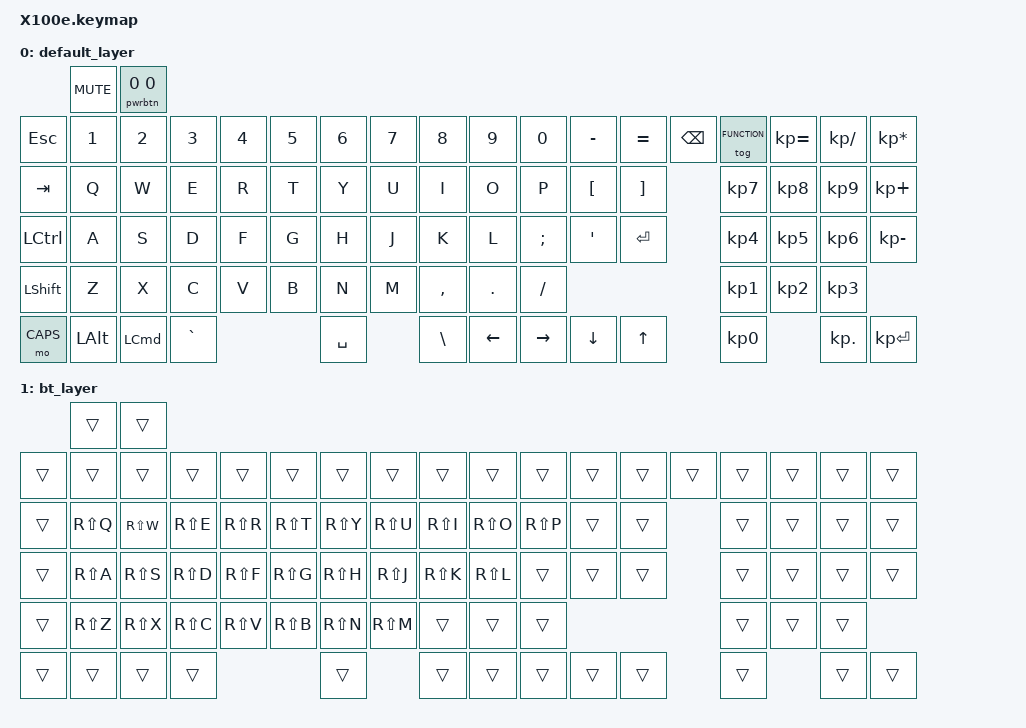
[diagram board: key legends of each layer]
#include <dt-bindings/zmk/keys.h>
#include <behaviors.dtsi>
#include <dt-bindings/zmk/bt.h>

/ {

    keymap {
        compatible = "zmk,keymap";
        
        default_layer {
            bindings = <
                &kp C_MUTE  &pwrbtn 0 0
    &kp ESC     &kp N1      &kp N2      &kp N3      &kp N4      &kp N5      &kp N6      &kp N7      &kp N8      &kp N9      &kp N0      &kp MINUS   &kp EQUAL       &kp BSPC        &tog FUNCTION   &kp KP_EQUAL    &kp KP_SLASH    &kp KP_ASTERISK
    &kp TAB     &kp Q       &kp W       &kp E       &kp R       &kp T       &kp Y       &kp U       &kp I       &kp O       &kp P       &kp LBKT    &kp RBKT                        &kp KP_N7       &kp KP_N8       &kp KP_N9       &kp KP_PLUS
    &kp LCTRL   &kp A       &kp S       &kp D       &kp F       &kp G       &kp H       &kp J       &kp K       &kp L       &kp SEMI    &kp APOS    &kp RET                         &kp KP_N4       &kp KP_N5       &kp KP_N6       &kp KP_MINUS
    &kp LSHIFT  &kp Z       &kp X       &kp C       &kp V       &kp B       &kp N       &kp M       &kp COMMA   &kp DOT     &kp FSLH                                                &kp KP_N1       &kp KP_N2       &kp KP_N3  
    &mo CAPS    &kp LALT    &kp LCMD    &kp GRAVE                           &kp SPACE               &kp BSLH    &kp LEFT    &kp RIGHT   &kp DOWN    &kp UP                          &kp KP_N0                       &kp KP_DOT      &kp KP_ENTER
    			>;
		};

    bt_layer {
            bindings = <
                &trans      &trans  
    &trans      &trans      &trans      &trans      &trans      &trans      &trans      &trans      &trans      &trans      &trans       &trans         &trans          &trans       &trans     &trans      &trans      &trans
    &trans      &kp RS(Q)   &kp RS(W)   &kp RS(E)   &kp RS(R)   &kp RS(T)   &kp RS(Y)   &kp RS(U)   &kp RS(I)   &kp RS(O)   &kp RS(P)    &trans         &trans                       &trans     &trans      &trans      &trans
    &trans      &kp RS(A)   &kp RS(S)   &kp RS(D)   &kp RS(F)   &kp RS(G)   &kp RS(H)   &kp RS(J)   &kp RS(K)   &kp RS(L)   &trans       &trans         &trans                       &trans     &trans      &trans      &trans
    &trans      &kp RS(Z)   &kp RS(X)   &kp RS(C)   &kp RS(V)   &kp RS(B)   &kp RS(N)   &kp RS(M)   &trans      &trans      &trans                                                   &trans     &trans      &trans    
    &trans      &trans      &trans      &trans                              &trans                  &trans      &trans      &trans       &trans         &trans                       &trans                 &trans      &trans 
    			>;
    		};
	};
	
};
